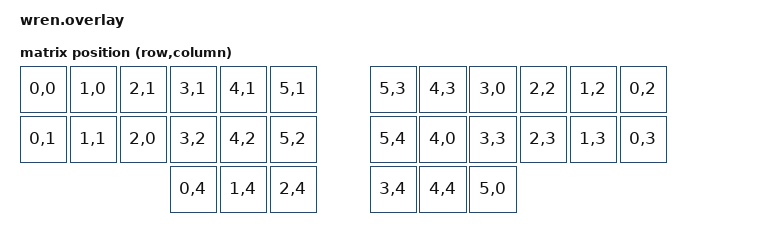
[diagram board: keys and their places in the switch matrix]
/*
 * Copyright (c) 2020 The ZMK Contributors
 *
 * SPDX-License-Identifier: MIT
 */

#include <dt-bindings/zmk/matrix_transform.h>

/ {
    chosen {
        zmk,kscan = &kscan0;
        zmk,matrix_transform = &default_transform;
	/delete-property/ zephyr,console;
	/delete-property/ zephyr,shell-uart;
    };

    default_transform: keymap_transform_0 {
        compatible = "zmk,matrix-transform";
        columns = <12>;
        rows = <3>;
        map = <
RC(0,0) RC(1,0) RC(2,1) RC(3,1) RC(4,1) RC(5,1)                 RC(5,3) RC(4,3) RC(3,0) RC(2,2) RC(1,2) RC(0,2)
RC(0,1) RC(1,1) RC(2,0) RC(3,2) RC(4,2) RC(5,2)                 RC(5,4) RC(4,0) RC(3,3) RC(2,3) RC(1,3) RC(0,3)
                                RC(0,4) RC(1,4) RC(2,4) RC(3,4) RC(4,4) RC(5,0)
/* RC(0,1) RC(1,0) RC(2,1) RC(3,1) RC(4,1) RC(5,1)                 RC(5,3) RC(4,3) RC(3,0) RC(2,3) RC(1,3) RC(0,3) */
/* RC(0,2) RC(1,2) RC(2,0) RC(3,2) RC(4,2) RC(5,2)                 RC(5,4) RC(4,0) RC(3,4) RC(2,4) RC(1,4) RC(0,4) */
/*                                 RC(0,5) RC(1,5) RC(2,5) RC(3,5) RC(4,5) RC(5,0) */
        >;
    };
    
    kscan0: kscan {
        compatible = "zmk,kscan-gpio-charlieplex";
        label = "KSCAN";
        gpios = <&porta 2 0>, <&porta 4 0>, <&porta 10 0>, <&porta 11 0>, <&porta 8 0>, <&porta 9 0>;
    };
};

&sercom0 { status = "disabled"; };
&sercom2 { status = "disabled"; };
&sercom4 { status = "disabled"; };
